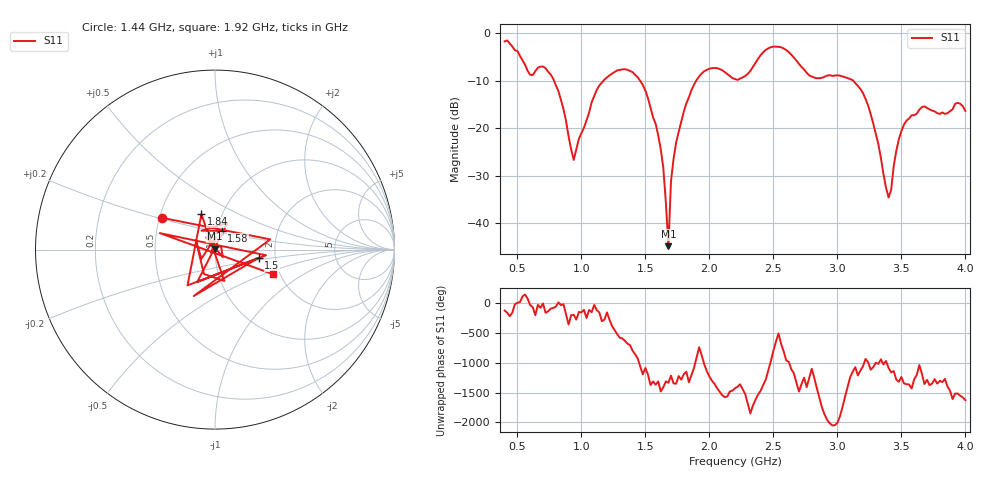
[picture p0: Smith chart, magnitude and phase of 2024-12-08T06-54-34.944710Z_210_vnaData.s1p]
!Created with skrf (http://scikit-rf.org).
# Hz S RI R 50.0
!freq ReS11 ImS11
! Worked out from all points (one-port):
!   181 points, 400 MHz to 4 GHz, reference 50 ohm
!   lowest |S11| = -44.9 dB at 1.68 GHz (marker M1), VSWR 1.01, Z = 49.9 + j0.559 ohm
!   |S11| at or under -10 dB: 785.5 MHz to 1.173 GHz (387.7 MHz wide, 39.6 % of centre); 1.458 GHz to 1.898 GHz (439.9 MHz wide, 26.2 % of centre); 3.122 GHz to end of sweep
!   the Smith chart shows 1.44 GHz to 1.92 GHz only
!   S11 on the Smith chart (normalised r, x): 1.44 GHz: 0.52, +0.21; 1.5 GHz: 1.63, -0.16; 1.58 GHz: 1.05, +0.22; 1.84 GHz: 0.80, +0.33; 1.92 GHz: 1.83, -0.57
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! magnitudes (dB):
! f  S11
! 400 MHz  -1.8
! 600 MHz  -8.8
! 720 MHz  -7.4
! 860 MHz  -16.0
! 940 MHz  -26.7
! 1.12 GHz  -12.0
! 1.3 GHz  -7.8
! 1.44 GHz  -9.3
! 1.5 GHz  -12.1
! 1.58 GHz  -19.1
! 1.64 GHz  -28.4
! 1.68 GHz  -44.9
! 1.7 GHz  -31.1
! 1.76 GHz  -20.8
! 1.84 GHz  -13.5
! 1.92 GHz  -9.1
! 2.04 GHz  -7.3
! 2.2 GHz  -9.7
! 2.48 GHz  -3.0
! 2.66 GHz  -5.1
! 2.82 GHz  -9.4
! 3.1 GHz  -9.7
! 3.24 GHz  -15.3
! 3.4 GHz  -34.6
! 3.48 GHz  -22.4
! 3.56 GHz  -18.0
! 3.68 GHz  -15.4
! 4 GHz  -16.4
